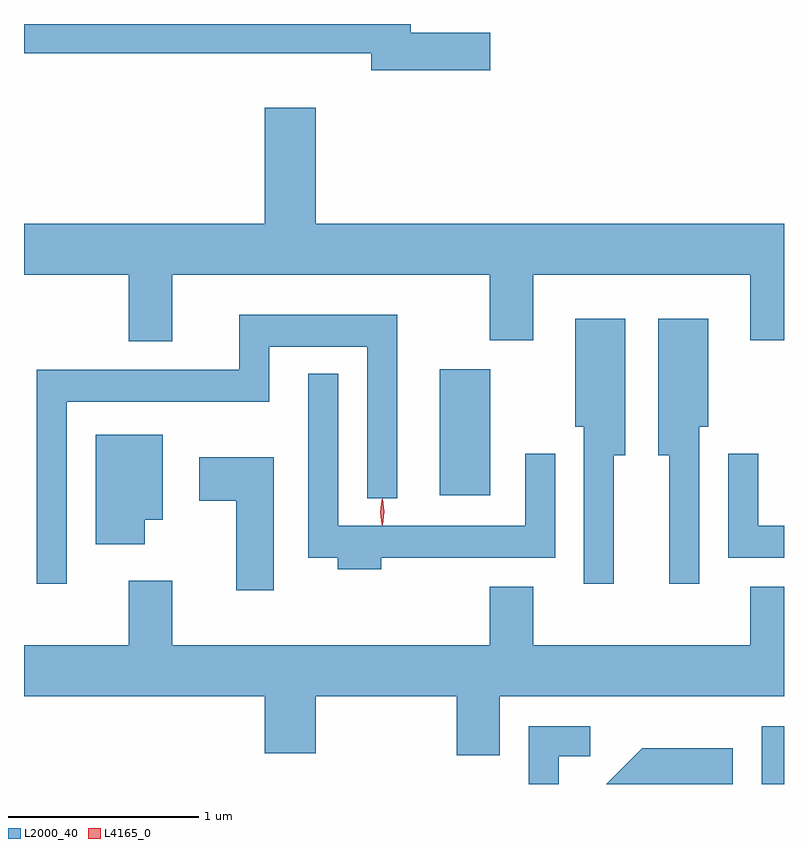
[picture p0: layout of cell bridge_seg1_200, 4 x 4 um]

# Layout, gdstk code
import gdstk
lib = gdstk.Library(unit=1e-6, precision=1e-09)
def R(c, l, rs):  # rectangles x0, y0, x1, y1
    for r in rs: c.add(gdstk.rectangle(r[:2], r[2:], *l))
def P(c, l, *ps):  # polygons
    for p in ps: c.add(gdstk.Polygon(p, *l))
L2000_40 = (2000, 40)
L4165_0 = (4165, 0)

bridge_seg1_200 = lib.new_cell('bridge_seg1_200')
R(bridge_seg1_200, L2000_40, [(797.111,930.195,797.229,930.499), (795.416,931.716,795.684,932.379)])
P(bridge_seg1_200, L2000_40, [(795.684,934.149),(795.264,934.149),(795.264,934.195),(793.229,934.195),(793.229,934.041),(795.056,934.041),(795.056,933.951),(795.684,933.951)],
  [(794.009,932.876),(795.681,932.876),(795.681,932.531),(795.909,932.531),(795.909,932.876),(797.051,932.876),(797.051,932.531),(797.229,932.531),(797.229,933.144),(794.764,933.144),(794.764,933.754),(794.496,933.754),(794.496,933.144),(793.229,933.144),(793.229,932.876),(793.781,932.876),(793.781,932.526),(794.009,932.526)],
  [(793.454,932.206),(794.519,932.206),(794.519,932.496),(795.036,932.496),(795.036,931.698),(795.194,931.698),(795.194,932.664),(794.361,932.664),(794.361,932.374),(793.296,932.374),(793.296,931.248),(793.454,931.248)],
  [(796.784,932.076),(796.829,932.076),(796.829,932.644),(796.566,932.644),(796.566,931.926),(796.626,931.926),(796.626,931.248),(796.784,931.248)],
  [(796.334,931.926),(796.394,931.926),(796.394,932.644),(796.131,932.644),(796.131,932.076),(796.176,932.076),(796.176,931.248),(796.334,931.248)],
  [(795.109,931.386),(796.024,931.386),(796.024,931.933),(795.866,931.933),(795.866,931.554),(794.884,931.554),(794.884,932.353),(794.726,932.353),(794.726,931.386),(794.881,931.386),(794.881,931.326),(795.109,931.326)],
  [(793.864,931.586),(793.959,931.586),(793.959,932.034),(793.606,932.034),(793.606,931.456),(793.864,931.456)],
  [(797.229,931.554),(797.094,931.554),(797.094,931.933),(796.936,931.933),(796.936,931.386),(797.229,931.386)],
  [(794.544,931.914),(794.151,931.914),(794.151,931.686),(794.346,931.686),(794.346,931.216),(794.544,931.216)],
  [(795.734,930.656),(797.229,930.656),(797.229,931.234),(797.051,931.234),(797.051,930.924),(795.909,930.924),(795.909,931.234),(795.681,931.234),(795.681,930.924),(794.009,930.924),(794.009,931.264),(793.781,931.264),(793.781,930.924),(793.229,930.924),(793.229,930.656),(794.496,930.656),(794.496,930.356),(794.764,930.356),(794.764,930.656),(795.506,930.656),(795.506,930.346),(795.734,930.346)],
  [(796.044,930.341),(796.208,930.341),(796.208,930.499),(795.886,930.499),(795.886,930.195),(796.044,930.195)],
  [(796.959,930.384),(796.484,930.384),(796.294,930.195),(796.959,930.195)])
P(bridge_seg1_200, L4165_0, [(795.113,931.56),(795.104,931.626),(795.113,931.692),(795.114,931.693),(795.114,931.692),(795.124,931.626),(795.114,931.56),(795.114,931.56)],
  [(795.116,931.557),(795.116,931.557),(795.106,931.627),(795.116,931.696),(795.116,931.696),(795.117,931.696),(795.126,931.627),(795.117,931.557)])

lib.write_gds('bridge_seg1_200.gds')
